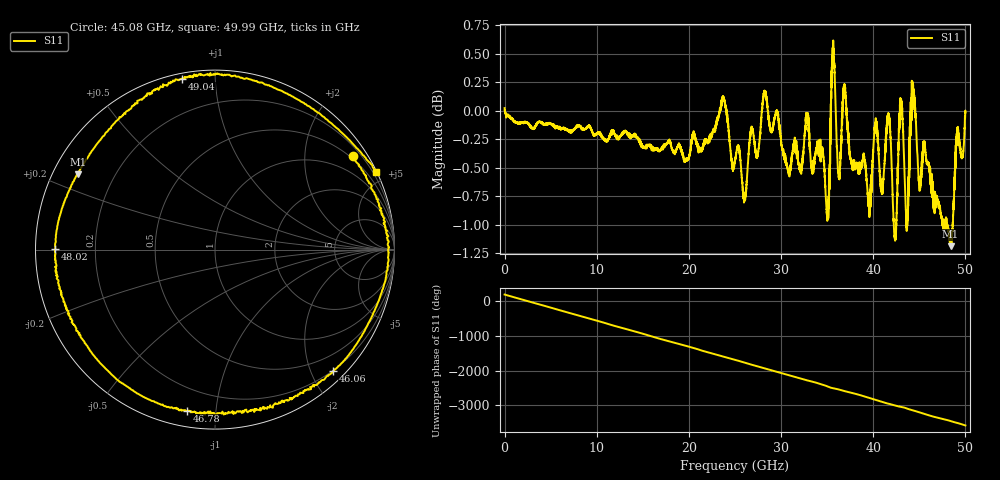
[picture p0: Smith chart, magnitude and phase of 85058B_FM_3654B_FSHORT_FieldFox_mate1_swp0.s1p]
!Created with skrf (http://scikit-rf.org).
# Hz S RI R 50.0
!freq ReS11 ImS11
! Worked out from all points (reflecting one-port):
!   10000 points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, 5.3 MHz to 50 GHz, reference 50 ohm
!   lowest |S11| = -1.2 dB at 48.4 GHz (marker M1), VSWR 14.65, Z = 3.64 + j12.7 ohm
!   phase of S11 starts at 180 deg and turns -3755 deg over the sweep
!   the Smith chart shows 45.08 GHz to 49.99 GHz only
!   S11 on the Smith chart (normalised r, x): 45.08 GHz: 0.42, +3.22; 46.06 GHz: 0.19, -2.35; 46.78 GHz: 0.08, -0.84; 48.02 GHz: 0.06, +0.00; 49.04 GHz: 0.03, +0.82; 49.99 GHz: 0.03, +4.41
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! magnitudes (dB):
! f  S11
! 5.3 MHz  0.0
! 6.255 GHz  -0.2
! 12.51 GHz  -0.2
! 18.76 GHz  -0.3
! 23.73 GHz  0.1
! 25.01 GHz  -0.4
! 26.07 GHz  -0.8
! 28.25 GHz  0.2
! 31.26 GHz  -0.4
! 35.02 GHz  -0.9
! 35.67 GHz  0.6
! 36.24 GHz  -0.6
! 36.88 GHz  0.2
! 37.51 GHz  -0.4
! 39.57 GHz  -0.8
! 41.66 GHz  0.0
! 42.37 GHz  -1.1
! 43.02 GHz  0.1
! 43.76 GHz  -0.9
! 44.32 GHz  0.1
! 45.08 GHz  -0.6
! 46.06 GHz  -0.5
! 46.78 GHz  -0.8
! 48.02 GHz  -1.0
! 48.4 GHz  -1.2
! 49.04 GHz  -0.3
! 49.99 GHz  0.0
! 50 GHz  0.0
